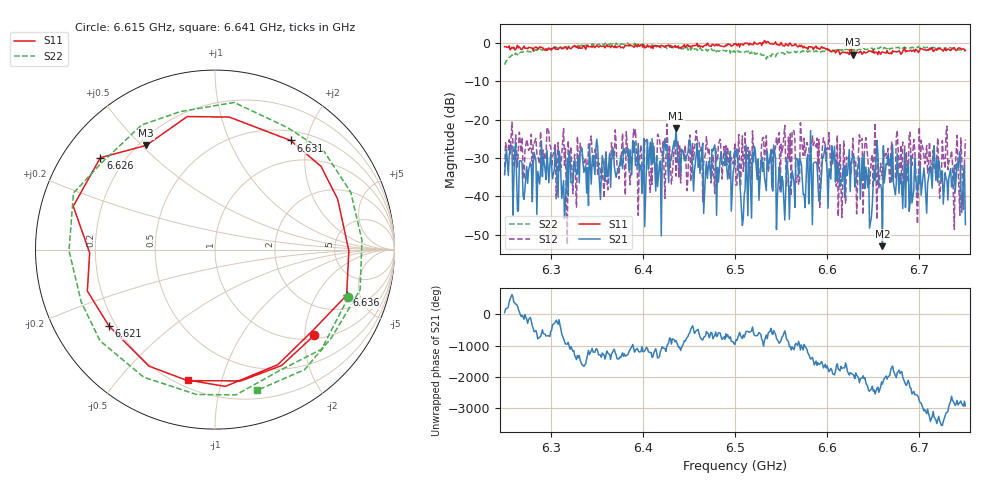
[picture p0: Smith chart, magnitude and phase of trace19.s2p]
# Hz S RI R 50
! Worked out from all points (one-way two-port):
!   401 points, 6.25 GHz to 6.75 GHz, reference 50 ohm
!   highest |S21| = -22.29 dB at 6.436 GHz (marker M1); lowest = -52.9 dB at 6.66 GHz (marker M2)
!   lowest |S11| = -3.2 dB at 6.628 GHz (marker M3), VSWR 5.57, Z = 11.5 + j25.8 ohm
!   |S11| at or under -10 dB: nowhere
!   |S22| runs from -5.7 to -0.1 dB; largest |S21 - S12| = 0.12
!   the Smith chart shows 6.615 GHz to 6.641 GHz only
!   S11 on the Smith chart (normalised r, x): 6.615 GHz: 1.09, -2.23; 6.621 GHz: 0.17, -0.31; 6.626 GHz: 0.11, +0.35; 6.631 GHz: 0.64, +1.73; 6.636 GHz: 2.93, -3.74; 6.641 GHz: 0.24, -0.78
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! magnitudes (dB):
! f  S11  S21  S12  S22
! 6.25 GHz  -1.1  -34.2  -34.6  -5.7
! 6.308 GHz  -1.8  -40.2  -26.0  -1.5
! 6.314 GHz  -1.5  -35.9  -22.3  -1.5
! 6.334 GHz  -1.5  -27.5  -28.8  -0.6
! 6.418 GHz  -1.2  -31.6  -24.8  -0.8
! 6.436 GHz  -1.3  -22.3  -34.7  -1.0
! 6.5 GHz  -0.4  -28.1  -26.0  -2.5
! 6.509 GHz  -0.7  -45.8  -33.5  -2.4
! 6.521 GHz  0.2  -26.9  -28.1  -2.6
! 6.548 GHz  -0.7  -32.3  -23.4  -2.6
! 6.584 GHz  -1.2  -47.3  -24.3  -2.2
! 6.615 GHz  -2.7  -35.6  -37.4  -2.1
! 6.621 GHz  -2.8  -34.6  -29.7  -1.8
! 6.626 GHz  -1.7  -31.2  -34.3  -1.4
! 6.628 GHz  -3.2  -29.1  -24.9  -2.0
! 6.631 GHz  -2.6  -36.2  -30.8  -1.7
! 6.636 GHz  -2.2  -40.7  -25.6  -1.7
! 6.641 GHz  -2.6  -38.0  -26.1  -1.7
! 6.66 GHz  -2.4  -52.9  -35.6  -1.3
! 6.668 GHz  -2.9  -31.8  -36.7  -1.7
! 6.742 GHz  -1.4  -32.3  -31.7  -1.9
! 6.75 GHz  -2.0  -47.3  -25.2  -2.3
